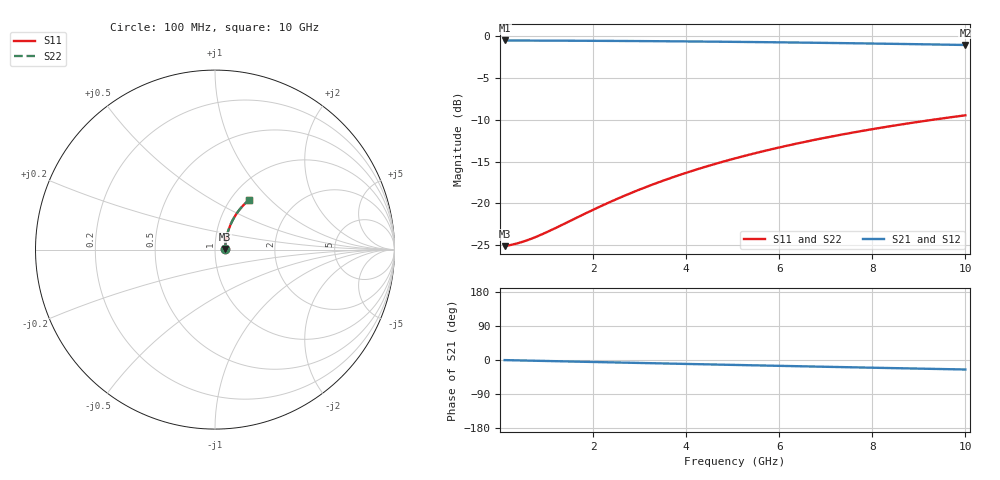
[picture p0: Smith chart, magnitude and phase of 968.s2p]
# Hz S RI R 50.00
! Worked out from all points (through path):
!   100 points, 100 MHz to 10 GHz, reference 50 ohm
!   highest |S21| = -0.50 dB at 100 MHz (marker M1); lowest = -1.0 dB at 10 GHz (marker M2)
!   group delay of S21, straight-line fit = 6.98 ps
!   lowest |S11| = -25.1 dB at 100 MHz (marker M3), VSWR 1.12, Z = 55.9 + j0.373 ohm
!   |S11| at or under -10 dB: start of sweep to 9.281 GHz
!   |S22| runs from -25.1 to -9.5 dB; largest |S21 - S12| = 0
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1e8  0.0554 0.00333  0.9446 -0.00431  0.9446 -0.00431  0.0554 0.00333
3e8  0.0561 0.00997  0.9438 -0.0129  0.9438 -0.0129  0.0561 0.00997
4e8  0.0565 0.0133  0.9435 -0.0172  0.9435 -0.0172  0.0565 0.0133
5e8  0.0568 0.0166  0.9432 -0.0215  0.9432 -0.0215  0.0568 0.0166
7e8  0.0574 0.0232  0.9426 -0.0301  0.9426 -0.0301  0.0574 0.0232
9e8  0.0581 0.0298  0.9418 -0.0386  0.9418 -0.0386  0.0581 0.0298
1.1e9  0.0589 0.0364  0.941 -0.0472  0.941 -0.0472  0.0589 0.0364
1.8e9  0.0625 0.0593  0.9373 -0.0769  0.9373 -0.0769  0.0625 0.0593
2.2e9  0.0652 0.0722  0.9346 -0.0937  0.9346 -0.0937  0.0652 0.0722
2.6e9  0.0682 0.085  0.9314 -0.1105  0.9314 -0.1105  0.0682 0.085
3e9  0.0717 0.0976  0.9278 -0.127  0.9278 -0.127  0.0717 0.0976
3.4e9  0.0756 0.1101  0.9238 -0.1434  0.9238 -0.1434  0.0756 0.1101
3.8e9  0.08 0.1223  0.9193 -0.1596  0.9193 -0.1596  0.08 0.1223
4.2e9  0.0847 0.1344  0.9144 -0.1756  0.9144 -0.1756  0.0847 0.1344
4.6e9  0.0899 0.1463  0.9091 -0.1914  0.9091 -0.1914  0.0899 0.1463
5.1e9  0.0968 0.1607  0.9018 -0.2108  0.9018 -0.2108  0.0968 0.1607
5.9e9  0.1092 0.183  0.889 -0.2409  0.889 -0.2409  0.1092 0.183
6.7e9  0.1229 0.2041  0.8748 -0.27  0.8748 -0.27  0.1229 0.2041
7.5e9  0.1379 0.224  0.8593 -0.2978  0.8593 -0.2978  0.1379 0.224
8.4e9  0.156 0.2448  0.8404 -0.3275  0.8404 -0.3275  0.156 0.2448
9.2e9  0.1731 0.2618  0.8226 -0.3524  0.8226 -0.3524  0.1731 0.2618
1e10  0.191 0.2774  0.8039 -0.376  0.8039 -0.376  0.191 0.2774
